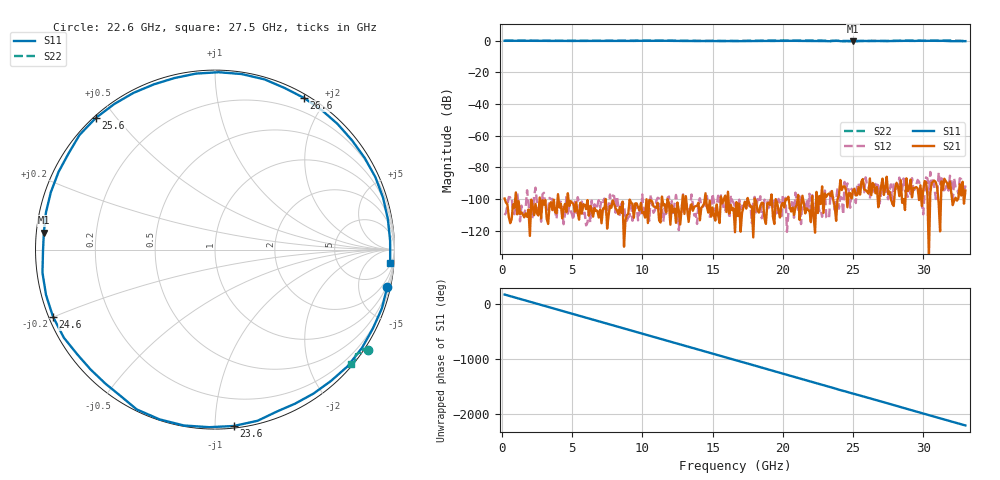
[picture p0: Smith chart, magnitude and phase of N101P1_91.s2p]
# GHZ S RI R 50
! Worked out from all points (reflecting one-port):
!   329 points, 200 MHz to 33 GHz, reference 50 ohm
!   lowest |S11| = -0.4 dB at 25 GHz (marker M1), VSWR 46.97, Z = 1.07 + j2.49 ohm
!   phase of S11 starts at 165 deg and turns -2368 deg over the sweep
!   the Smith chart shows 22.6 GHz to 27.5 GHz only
!   S11 on the Smith chart (normalised r, x): 22.6 GHz: 0.80, -9.32; 23.6 GHz: 0.01, -1.11; 24.6 GHz: 0.01, -0.20; 25.6 GHz: 0.01, +0.44; 26.6 GHz: 0.04, +1.74; 27.5 GHz: 7, -24
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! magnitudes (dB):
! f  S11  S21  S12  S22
! 200 MHz  0.0  -99.7  -110.2  0.0
! 5.7 GHz  -0.1  -109.2  -101.6  -0.1
! 11.2 GHz  0.0  -113.6  -99.7  0.0
! 16.6 GHz  -0.3  -121.0  -105.0  -0.1
! 20.7 GHz  0.0  -105.4  -100.6  0.1
! 22.1 GHz  -0.1  -98.1  -97.5  0.1
! 22.6 GHz  -0.2  -98.1  -107.7  0.2
! 23.4 GHz  -0.3  -98.1  -95.4  -0.1
! 23.6 GHz  -0.1  -101.0  -99.0  0.0
! 24 GHz  -0.1  -97.5  -106.1  0.0
! 24.3 GHz  -0.3  -92.2  -109.7  -0.1
! 24.6 GHz  -0.2  -105.2  -90.1  -0.1
! 25 GHz  -0.4  -94.6  -95.5  -0.2
! 25.6 GHz  -0.1  -88.9  -89.8  -0.2
! 26.6 GHz  -0.2  -96.4  -90.5  0.0
! 27.5 GHz  -0.2  -96.9  -100.2  -0.1
! 27.6 GHz  -0.2  -95.2  -94.9  -0.1
! 28.7 GHz  0.0  -107.0  -94.9  0.1
! 30.3 GHz  0.0  -97.5  -87.0  -0.1
! 31.3 GHz  0.0  -88.9  -86.9  0.1
! 31.7 GHz  -0.2  -90.0  -90.2  0.2
! 33 GHz  -0.2  -94.7  -91.4  -0.2
